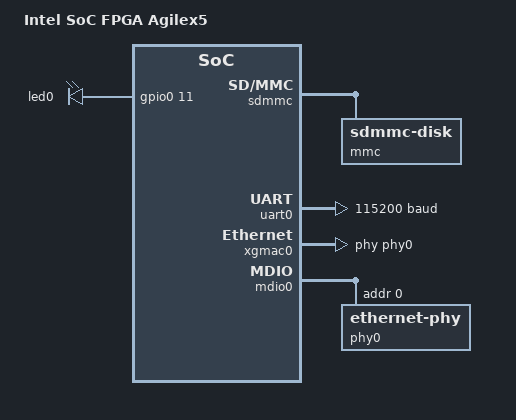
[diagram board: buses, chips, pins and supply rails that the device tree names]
/*
 * Copyright (c) 2024, Intel Corporation.
 *
 * SPDX-License-Identifier: Apache-2.0
 */

/dts-v1/;

#include <intel/intel_socfpga_agilex5.dtsi>

/ {
	model = "Intel SoC FPGA Agilex5";
	compatible = "intel,socfpga-agilex5";

	chosen {
		zephyr,console = &uart0;
		zephyr,shell-uart = &uart0;
		zephyr,sram = &mem0;
	};

	aliases {
		led0 = &led0;
		sdhc0 = &sdmmc;
	};

	leds {
		compatible = "gpio-leds";

		led0: led0 {
			gpios = <&gpio0 11 GPIO_ACTIVE_HIGH>;
		};
	};
};

&gpio0 {
	status = "okay";
};

&gpio1 {
	status = "okay";
};

&sdmmc {
	status = "okay";
	no-1-8-v;
	cdns,phy-cfg-sd-ds = <0x00780000 0x81a40040 0x00a000fe 0x28000001 0x00800004>;
	cdns,phy-cfg-sd-hs = <0x00780001 0x81a40040 0x00000000 0x10000001 0x00800004>;
	cdns,ctrl-cfg-sd-hs = <0x0001800c 0x00030000 0x00000101 0x000a0001>;
	cdns,phy-cfg-emmc-sdr = <0x00780004 0x80a40040 0x04000004 0x38000001 0x00800004>;
	cdns,ctrl-cfg-emmc-sdr = <0xf1c1800c 0x00020000 0x00000101 0x00090005>;
	cdns,phy-cfg-emmc-hs200 = <0x00780004 0x81a40040 0x004d4d00 0x11000001 0x00000004>;
	cdns,ctrl-cfg-emmc-hs200 = <0xf1c18000 0x00090000 0x00000101 0x000a0001>;

	mmc {
		/*SD Disk Access */
		compatible = "zephyr,sdmmc-disk";
		disk-name = "SD";
		status = "okay";
	};
};

&uart0 {
	status = "okay";
	current-speed = <115200>;
};

&xgmac0 {
	full-duplex-mode-en;
	num-dma-ch = <1>;
	num-tx-queues = <1>;
	num-rx-queues = <1>;
	num-tc = <1>;
	dma-ch-rdrl = <128>;
	dma-ch-tdrl = <128>;
	max-speed = <1000>;
	max-frame-size = <9018>;
	jumbo-pkt-en;
	zephyr,random-mac-address;
	phy-handle = <&phy0>;
};

&mdio0 {
	csr-clock-indx = <4>;

	phy0: phy@0 {
		compatible = "ethernet-phy";
		reg = <0>;
	};
};
